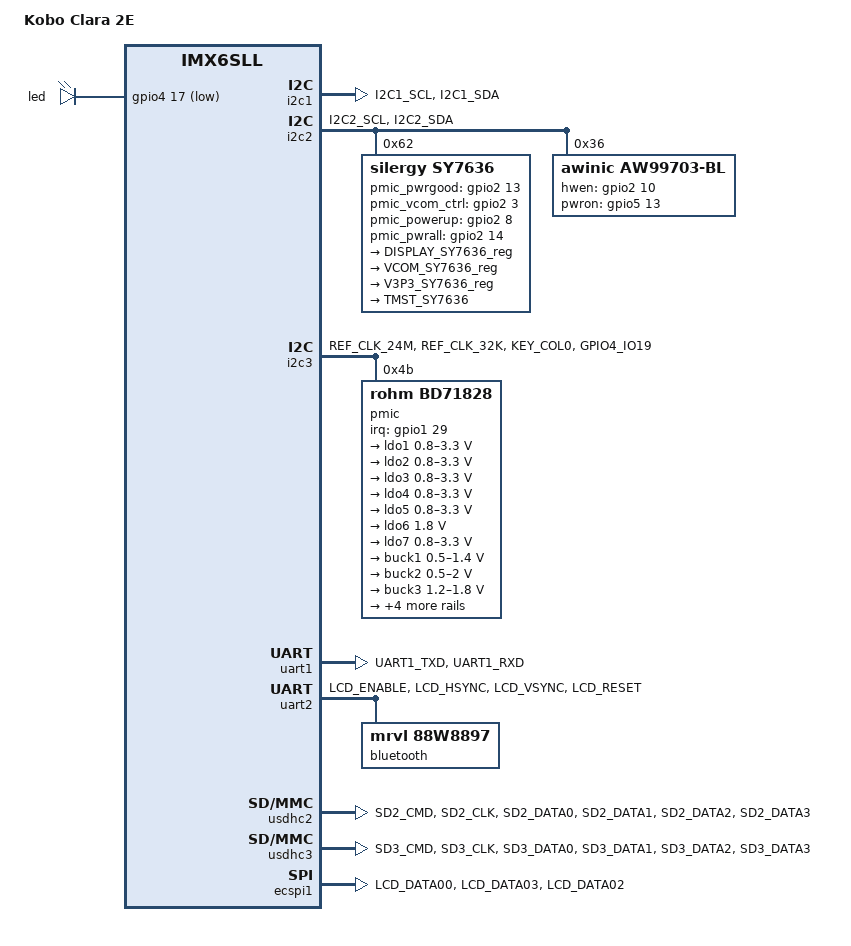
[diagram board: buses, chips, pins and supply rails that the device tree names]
// SPDX-License-Identifier: (GPL-2.0)
/*
 * Device tree for the Kobo Clara 2E ebook reader
 *
 * Name on mainboard is: 37NB-E60K2M+4A2
 * Serials start with: E60K2M (a number also seen in
 * vendor kernel sources)
 *
 * This mainboard seems to be equipped with different SoCs.
 * In the Kobo Clara 2E ebook reader it is an i.MX6SLL
 *
 * Copyright 2019 Brian McKenna
 * based on works
 * Copyright 2019 Andreas Kemnade
 * Copyright 2016 Freescale Semiconductor, Inc.
 */

/dts-v1/;

#include <dt-bindings/input/input.h>
#include <dt-bindings/gpio/gpio.h>
#include "imx6sll.dtsi"
#include "e60k02.dtsi"

/ {
	model = "Kobo Clara 2E";
	compatible = "kobo,clara2e", "fsl,imx6sll";
};

&clks {
	assigned-clocks = <&clks IMX6SLL_CLK_PLL4_AUDIO_DIV>;
	assigned-clock-rates = <393216000>;
};

&cpu0 {
	arm-supply = <&dcdc3_reg>;
	soc-supply = <&dcdc1_reg>;
};

&epdc {
	pinctrl-names = "default";
	pinctrl-0 = <&pinctrl_epdc0>;

	DISPLAY-supply = <&DISPLAY_SY7636_reg>;
	VCOM-supply = <&VCOM_SY7636_reg>;      
	V3P3-supply = <&V3P3_SY7636_reg>;   
};

&epd_thermal {
	thermal-sensors = <&sy7636>;
};

&gpio_keys {
	pinctrl-names = "default";
	pinctrl-0 = <&pinctrl_gpio_keys>;
};

&i2c1 {
	pinctrl-names = "default","sleep";
	pinctrl-0 = <&pinctrl_i2c1>;
	pinctrl-1 = <&pinctrl_i2c1_sleep>;
};

&i2c2 {
	pinctrl-names = "default","sleep";
	pinctrl-0 = <&pinctrl_i2c2>;
	pinctrl-1 = <&pinctrl_i2c2_sleep>;

	sy7636: sy7636@62 {
		compatible = "silergy,sy7636";
		reg = <0x62>;

		on_delay1 = <2>;
		on_delay2 = <2>;
		on_delay3 = <2>;
		on_delay4 = <2>;

		VLDO = <3>;
		VPDD = <2>;
		vddh_ext = <0>;
		vpdd_len = <5>;
		vp_ext = <1>;
		vee_ext = <1>;

		gpio_pmic_pwrgood = <&gpio2 13 GPIO_ACTIVE_HIGH>;
		gpio_pmic_vcom_ctrl = <&gpio2 3 GPIO_ACTIVE_HIGH>;
		gpio_pmic_powerup = <&gpio2 8 GPIO_ACTIVE_HIGH>;
		gpio_pmic_pwrall = <&gpio2 14 GPIO_ACTIVE_HIGH>;

		#thermal-sensor-cells = <0>;

		regulators {
			DISPLAY_SY7636_reg: DISPLAY_SY7636 {
				regulator-name = "DISPLAY_SY7636";
			};

			VCOM_SY7636_reg: VCOM_SY7636 {
				regulator-name = "VCOM_SY7636";
				/* 2's-compliment, -4325000 */
				// regulator-min-microvolt = <0xffbe0178>;
				/* 2's-compliment, -500000 */
				// regulator-max-microvolt = <0xfff85ee0>;
			};

			V3P3_SY7636_reg: V3P3_SY7636 {
				regulator-name = "V3P3_SY7636";
			};

			TMST_SY7636 {
				regulator-name = "TMST_SY7636";
			};
		};
	};

	aw99703-bl@36 {
			reg = <0x36>;
			aw99703,bl-channel = <1>;
			aw99703,bl-fscal-led = <0>;
			aw99703,bl-map = <3>;
			aw99703,hwen-gpio = <&gpio2 10 0>;
			aw99703,i2c-trans-dim = <7>;
			aw99703,label = "FL2";
			aw99703,pwm-mode = <0>;
			aw99703,pwm-trans-dim = <0>;
			aw99703,pwron = <&gpio5 13 0>;
			aw99703,turn-off-ramp = <0>;
			aw99703,turn-on-ramp = <0>;
			aw99703,using-lsb;
			compatible = "awinic,aw99703-bl";
	};
};

&i2c3 {
	pinctrl-names = "default";
	pinctrl-0 = <&pinctrl_i2c3 &pinctrl_bd71828>;

	pmic@4b {
		compatible = "rohm,bd71828";
		reg = <0x4b>;

		interrupt-parent = <&gpio1>;
		interrupts = <29 IRQ_TYPE_LEVEL_LOW>;

		clocks = <&clks 0>;
		#clock-cells = <0>;
		clock-output-names = "bd71828-32k-out";

		gpio-controller;
		#gpio-cells = <2>;
		gpio-reserved-ranges = <0 1>, <2 1>;

		#rohm,dvs-vsel-gpios = <
			&gpio1 12 0
			&gpio1 13 0
		>;
		rohm,charger-sense-resistor-ohms = <10000000>;

		regulators {
			LDO1 {
				name = "LDO1";
				regulator-name = "ldo1";
				regulator-always-on;
				regulator-min-microvolt = <800000>;
				regulator-max-microvolt = <3300000>;
				regulator-boot-on;
			};

			LDO2 {
				name = "LDO2";
				regulator-name = "ldo2";
				regulator-boot-off;
				regulator-always-on;
				regulator-min-microvolt = <800000>;
				regulator-max-microvolt = <3300000>;
			};

			LDO3 {
				name = "LDO3";
				regulator-name = "ldo3";
				regulator-always-on;
				regulator-min-microvolt = <800000>;
				regulator-max-microvolt = <3300000>;
				regulator-boot-on;
			};

			LDO4 {
				name = "LDO4";
				regulator-name = "ldo4";
				regulator-boot-off;
				regulator-always-on;
				regulator-min-microvolt = <800000>;
				regulator-max-microvolt = <3300000>;
			};

			LDO5 {
				name = "LDO5";
				regulator-name = "ldo5";
				regulator-boot-off;
				regulator-always-on;
				regulator-min-microvolt = <800000>;
				regulator-max-microvolt = <3300000>;
			};

			LDO6 {
				name = "LDO6";
				regulator-name = "ldo6";
				regulator-boot-off;
				regulator-always-on;
				regulator-min-microvolt = <1800000>;
				regulator-max-microvolt = <1800000>;
			};

			LDO7 {
				name = "LDO7";
				regulator-name = "ldo7";
				regulator-always-on;
				regulator-min-microvolt = <800000>;
				regulator-max-microvolt = <3300000>;
				regulator-boot-on;
			};

			BUCK1 {
				name = "BUCK1";
				regulator-name = "buck1";
				regulator-always-on;
				regulator-min-microvolt = <500000>;
				regulator-max-microvolt = <1400000>;
				phandle = <0x03>;
				regulator-boot-on;
				linux,phandle = <0x03>;
			};

			BUCK2 {
				name = "BUCK2";
				regulator-name = "buck2";
				regulator-always-on;
				regulator-min-microvolt = <500000>;
				regulator-max-microvolt = <2000000>;
				phandle = <0x04>;
				regulator-boot-on;
				linux,phandle = <0x04>;
			};

			BUCK3 {
				name = "BUCK3";
				regulator-name = "buck3";
				regulator-always-on;
				regulator-min-microvolt = <1200000>;
				regulator-max-microvolt = <1800000>;
				regulator-boot-on;
			};

			BUCK4 {
				name = "BUCK4";
				regulator-name = "buck4";
				regulator-always-on;
				regulator-min-microvolt = <0xf4240>;
				regulator-max-microvolt = <1200000>;
				regulator-boot-on;
			};

			BUCK5 {
				name = "BUCK5";
				regulator-name = "buck5";
				regulator-always-on;
				regulator-min-microvolt = <2500000>;
				regulator-max-microvolt = <3300000>;
				regulator-boot-on;
			};

			BUCK6 {
				name = "BUCK6";
				regulator-name = "buck6";
				regulator-boot-off;
				regulator-always-on;
				regulator-min-microvolt = <500000>;
				regulator-max-microvolt = <2000000>;
			};

			BUCK7 {
				name = "BUCK7";
				regulator-name = "buck7";
				regulator-boot-off;
				regulator-always-on;
				regulator-min-microvolt = <500000>;
				regulator-max-microvolt = <2000000>;
			};
		};

		leds {
			compatible = "rohm,bd71828-leds";

			led-1 {
				rohm,led-compatible = "bd71828-grnled";
				function = "indicator";
				color = <2>;
			};

			led-2 {
				rohm,led-compatible = "bd71828-ambled";
				function = "charging";
				color = <4>;
			};
		};
	};
};

&iomuxc {
	pinctrl-names = "default";
	pinctrl-0 = <&pinctrl_hog>;

	pinctrl_cyttsp5_gpio: cyttsp5-gpiogrp {
		fsl,pins = <
			MX6SLL_PAD_SD1_DATA3__GPIO5_IO06                0x17059 /* TP_INT */
			MX6SLL_PAD_SD1_DATA2__GPIO5_IO13                0x10059 /* TP_RST */
		>;
	};

	pinctrl_cyttsp5_gpio_sleep: cyttsp5-gpiogrp-sleep {
		fsl,pins = <
			MX6SLL_PAD_SD1_DATA3__GPIO5_IO06                0x10059 /* TP_INT */
			MX6SLL_PAD_SD1_DATA2__GPIO5_IO13                0x10059 /* TP_RST */
		>;
	};

	pinctrl_epdc0: epdcgrp0 {
		fsl,pins = <
			MX6SLL_PAD_EPDC_DATA00__EPDC_DATA00     0x100b1
			MX6SLL_PAD_EPDC_DATA01__EPDC_DATA01     0x100b1
			MX6SLL_PAD_EPDC_DATA02__EPDC_DATA02     0x100b1
			MX6SLL_PAD_EPDC_DATA03__EPDC_DATA03     0x100b1
			MX6SLL_PAD_EPDC_DATA04__EPDC_DATA04     0x100b1
			MX6SLL_PAD_EPDC_DATA05__EPDC_DATA05     0x100b1
			MX6SLL_PAD_EPDC_DATA06__EPDC_DATA06     0x100b1
			MX6SLL_PAD_EPDC_DATA07__EPDC_DATA07     0x100b1
			MX6SLL_PAD_EPDC_DATA08__EPDC_DATA08     0x100b1
			MX6SLL_PAD_EPDC_DATA09__EPDC_DATA09     0x100b1
			MX6SLL_PAD_EPDC_DATA10__EPDC_DATA10     0x100b1
			MX6SLL_PAD_EPDC_DATA11__EPDC_DATA11     0x100b1
			MX6SLL_PAD_EPDC_DATA12__EPDC_DATA12     0x100b1
			MX6SLL_PAD_EPDC_DATA13__EPDC_DATA13     0x100b1
			MX6SLL_PAD_EPDC_DATA14__EPDC_DATA14     0x100b1
			MX6SLL_PAD_EPDC_DATA15__EPDC_DATA15     0x100b1
			MX6SLL_PAD_EPDC_SDCLK__EPDC_SDCLK_P     0x100b1
			MX6SLL_PAD_EPDC_SDLE__EPDC_SDLE	 0x100b1
			MX6SLL_PAD_EPDC_SDOE__EPDC_SDOE	 0x100b1
			MX6SLL_PAD_EPDC_SDSHR__EPDC_SDSHR       0x100b1
			MX6SLL_PAD_EPDC_SDCE0__EPDC_SDCE0       0x100b1
			MX6SLL_PAD_EPDC_GDCLK__EPDC_GDCLK       0x100b1
			MX6SLL_PAD_EPDC_GDOE__EPDC_GDOE	 0x100b1
			MX6SLL_PAD_EPDC_GDRL__EPDC_GDRL	 0x100b1
			MX6SLL_PAD_EPDC_GDSP__EPDC_GDSP	 0x100b1
	       >;
	};

	pinctrl_gpio_keys: gpio-keysgrp {
		fsl,pins = <
			MX6SLL_PAD_GPIO4_IO25__GPIO4_IO25	0x17059	/* PWR_SW */
			MX6SLL_PAD_GPIO4_IO23__GPIO4_IO23	0x17059	/* HALL_EN */
		>;
	};

	pinctrl_hog: hoggrp {
		fsl,pins = <
			MX6SLL_PAD_LCD_DATA01__GPIO2_IO21	0x79
			MX6SLL_PAD_LCD_DATA04__GPIO2_IO24	0x79
			MX6SLL_PAD_LCD_DATA05__GPIO2_IO25	0x79
			MX6SLL_PAD_LCD_DATA06__GPIO2_IO26	0x79
			MX6SLL_PAD_LCD_DATA07__GPIO2_IO27	0x79
			MX6SLL_PAD_LCD_DATA08__GPIO2_IO28	0x79
			MX6SLL_PAD_LCD_DATA09__GPIO2_IO29	0x79
			MX6SLL_PAD_LCD_DATA10__GPIO2_IO30	0x79
			MX6SLL_PAD_LCD_DATA11__GPIO2_IO31	0x79
			MX6SLL_PAD_LCD_DATA12__GPIO3_IO00	0x79
			MX6SLL_PAD_LCD_DATA13__GPIO3_IO01	0x79
			MX6SLL_PAD_LCD_DATA14__GPIO3_IO02	0x79
			MX6SLL_PAD_LCD_DATA15__GPIO3_IO03	0x79
			MX6SLL_PAD_LCD_DATA16__GPIO3_IO04	0x79
			MX6SLL_PAD_LCD_DATA17__GPIO3_IO05	0x79
			MX6SLL_PAD_LCD_DATA18__GPIO3_IO06	0x79
			MX6SLL_PAD_LCD_DATA19__GPIO3_IO07	0x79
			MX6SLL_PAD_LCD_DATA20__GPIO3_IO08	0x79
			MX6SLL_PAD_LCD_DATA21__GPIO3_IO09	0x79
			MX6SLL_PAD_LCD_DATA22__GPIO3_IO10	0x79
			MX6SLL_PAD_LCD_DATA23__GPIO3_IO11	0x79
			MX6SLL_PAD_LCD_CLK__GPIO2_IO15		0x79
			MX6SLL_PAD_GPIO4_IO21__GPIO4_IO21   0x79
			MX6SLL_PAD_GPIO4_IO26__GPIO4_IO26   0x79
			MX6SLL_PAD_KEY_COL3__GPIO3_IO30     0x79
			MX6SLL_PAD_KEY_ROW7__GPIO4_IO07     0x79
			MX6SLL_PAD_ECSPI2_MOSI__GPIO4_IO13  0x79
		>;
	};

	pinctrl_i2c1: i2c1grp {
		fsl,pins = <
			MX6SLL_PAD_I2C1_SCL__I2C1_SCL	0x4001f8b1
			MX6SLL_PAD_I2C1_SDA__I2C1_SDA	0x4001f8b1
		>;
	};

	pinctrl_i2c1_sleep: i2c1grp-sleep {
		fsl,pins = <
			MX6SLL_PAD_I2C1_SCL__I2C1_SCL	0x400108b1
			MX6SLL_PAD_I2C1_SDA__I2C1_SDA	0x400108b1
		>;
	};

	pinctrl_i2c2: i2c2grp {
		fsl,pins = <
			MX6SLL_PAD_I2C2_SCL__I2C2_SCL	0x4001f8b1
			MX6SLL_PAD_I2C2_SDA__I2C2_SDA	0x4001f8b1
		>;
	};

	pinctrl_i2c2_sleep: i2c2grp-sleep {
		fsl,pins = <
			MX6SLL_PAD_I2C2_SCL__I2C2_SCL	0x400108b1
			MX6SLL_PAD_I2C2_SDA__I2C2_SDA	0x400108b1
		>;
	};

	pinctrl_i2c3: i2c3grp {
		fsl,pins = <
			MX6SLL_PAD_REF_CLK_24M__I2C3_SCL 0x4001f8b1
			MX6SLL_PAD_REF_CLK_32K__I2C3_SDA 0x4001f8b1
		>;
	};

	pinctrl_led: ledgrp {
		fsl,pins = <
			MX6SLL_PAD_SD1_DATA6__GPIO5_IO07 0x17059
		>;
	};

	pinctrl_lm3630a_bl_gpio: lm3630a-bl-gpiogrp {
		fsl,pins = <
			MX6SLL_PAD_EPDC_PWR_CTRL3__GPIO2_IO10	0x10059 /* HWEN */
		>;
	};

	pinctrl_uart1: uart1grp {
		fsl,pins = <
			MX6SLL_PAD_UART1_TXD__UART1_DCE_TX 0x1b0b1
			MX6SLL_PAD_UART1_RXD__UART1_DCE_RX 0x1b0b1
		>;
	};

	pinctrl_uart2: uart2grp {
		fsl,pins = <
			MX6SLL_PAD_LCD_ENABLE__UART2_DCE_RX	0x41b0b1
			MX6SLL_PAD_LCD_HSYNC__UART2_DCE_TX	0x41b0b1
			MX6SLL_PAD_LCD_VSYNC__UART2_DCE_RTS	0x41b0b1
			MX6SLL_PAD_LCD_RESET__UART2_DCE_CTS	0x41b0b1
		>;
	};

	pinctrl_usbotg1: usbotg1grp {
		fsl,pins = <
			MX6SLL_PAD_EPDC_PWR_COM__USB_OTG1_ID 0x17059
		>;
	};

	pinctrl_usdhc2: usdhc2grp {
		fsl,pins = <
			MX6SLL_PAD_SD2_CMD__SD2_CMD		0x17059
			MX6SLL_PAD_SD2_CLK__SD2_CLK		0x13059
			MX6SLL_PAD_SD2_DATA0__SD2_DATA0		0x17059
			MX6SLL_PAD_SD2_DATA1__SD2_DATA1		0x17059
			MX6SLL_PAD_SD2_DATA2__SD2_DATA2		0x17059
			MX6SLL_PAD_SD2_DATA3__SD2_DATA3		0x17059
		>;
	};

	pinctrl_usdhc2_100mhz: usdhc2grp-100mhz {
		fsl,pins = <
			MX6SLL_PAD_SD2_CMD__SD2_CMD		0x170b9
			MX6SLL_PAD_SD2_CLK__SD2_CLK		0x130b9
			MX6SLL_PAD_SD2_DATA0__SD2_DATA0		0x170b9
			MX6SLL_PAD_SD2_DATA1__SD2_DATA1		0x170b9
			MX6SLL_PAD_SD2_DATA2__SD2_DATA2		0x170b9
			MX6SLL_PAD_SD2_DATA3__SD2_DATA3		0x170b9
		>;
	};

	pinctrl_usdhc2_200mhz: usdhc2grp-200mhz {
		fsl,pins = <
			MX6SLL_PAD_SD2_CMD__SD2_CMD		0x170f9
			MX6SLL_PAD_SD2_CLK__SD2_CLK		0x130f9
			MX6SLL_PAD_SD2_DATA0__SD2_DATA0		0x170f9
			MX6SLL_PAD_SD2_DATA1__SD2_DATA1		0x170f9
			MX6SLL_PAD_SD2_DATA2__SD2_DATA2		0x170f9
			MX6SLL_PAD_SD2_DATA3__SD2_DATA3		0x170f9
		>;
	};

	pinctrl_usdhc2_sleep: usdhc2grp-sleep {
		fsl,pins = <
			MX6SLL_PAD_SD2_CMD__GPIO5_IO04		0x100f9
			MX6SLL_PAD_SD2_CLK__GPIO5_IO05		0x100f9
			MX6SLL_PAD_SD2_DATA0__GPIO5_IO01	0x100f9
			MX6SLL_PAD_SD2_DATA1__GPIO4_IO30	0x100f9
			MX6SLL_PAD_SD2_DATA2__GPIO5_IO03	0x100f9
			MX6SLL_PAD_SD2_DATA3__GPIO4_IO28	0x100f9
		>;
	};

	pinctrl_usdhc3: usdhc3grp {
		fsl,pins = <
			MX6SLL_PAD_SD3_CMD__SD3_CMD	0x11059
			MX6SLL_PAD_SD3_CLK__SD3_CLK	0x11059
			MX6SLL_PAD_SD3_DATA0__SD3_DATA0	0x11059
			MX6SLL_PAD_SD3_DATA1__SD3_DATA1	0x11059
			MX6SLL_PAD_SD3_DATA2__SD3_DATA2	0x11059
			MX6SLL_PAD_SD3_DATA3__SD3_DATA3	0x11059
		>;
	};

	pinctrl_usdhc3_100mhz: usdhc3grp-100mhz {
		fsl,pins = <
			MX6SLL_PAD_SD3_CMD__SD3_CMD	0x170b9
			MX6SLL_PAD_SD3_CLK__SD3_CLK	0x170b9
			MX6SLL_PAD_SD3_DATA0__SD3_DATA0	0x170b9
			MX6SLL_PAD_SD3_DATA1__SD3_DATA1	0x170b9
			MX6SLL_PAD_SD3_DATA2__SD3_DATA2	0x170b9
			MX6SLL_PAD_SD3_DATA3__SD3_DATA3	0x170b9
		>;
	};

	pinctrl_usdhc3_200mhz: usdhc3grp-200mhz {
		fsl,pins = <
			MX6SLL_PAD_SD3_CMD__SD3_CMD	0x170f9
			MX6SLL_PAD_SD3_CLK__SD3_CLK	0x170f9
			MX6SLL_PAD_SD3_DATA0__SD3_DATA0	0x170f9
			MX6SLL_PAD_SD3_DATA1__SD3_DATA1	0x170f9
			MX6SLL_PAD_SD3_DATA2__SD3_DATA2	0x170f9
			MX6SLL_PAD_SD3_DATA3__SD3_DATA3	0x170f9
		>;
	};

	pinctrl_usdhc3_sleep: usdhc3grp-sleep {
		fsl,pins = <
			MX6SLL_PAD_SD3_CMD__GPIO5_IO21	0x100c1
			MX6SLL_PAD_SD3_CLK__GPIO5_IO18	0x100c1
			MX6SLL_PAD_SD3_DATA0__GPIO5_IO19	0x100c1
			MX6SLL_PAD_SD3_DATA1__GPIO5_IO20	0x100c1
			MX6SLL_PAD_SD3_DATA2__GPIO5_IO16	0x100c1
			MX6SLL_PAD_SD3_DATA3__GPIO5_IO17	0x100c1
		>;
	};

	pinctrl_wifi_power: wifi-powergrp {
		fsl,pins = <
			MX6SLL_PAD_SD2_DATA6__GPIO4_IO29	0x10059		/* WIFI_3V3_ON */
		>;
	};

	pinctrl_wifi_reset: wifi-resetgrp {
		fsl,pins = <
			MX6SLL_PAD_SD2_DATA7__GPIO5_IO00	0x10059		/* WIFI_RST */
		>;
	};

	pinctrl_ecspi1: ecspi1grp {
		fsl,pins = <
			MX6SLL_PAD_LCD_DATA00__ECSPI1_MOSI	0x100b1
			MX6SLL_PAD_LCD_DATA03__ECSPI1_SCLK	0x100b1
			MX6SLL_PAD_LCD_DATA02__ECSPI1_SS0	0x100b1
		>;
	};

	pinctrl_bd71828: bd71828-gpiogrp {
		fsl,pins = <
			MX6SLL_PAD_KEY_COL0__GPIO3_IO24		0x1b8b1
			MX6SLL_PAD_GPIO4_IO19__GPIO4_IO19	0x1b8b1
		>;
	};
};

&leds {
	pinctrl-names = "default";
	pinctrl-0 = <&pinctrl_led>;

	led {
		gpios = <&gpio4 17 GPIO_ACTIVE_LOW>;
	};
};

&lm3630a {
	pinctrl-names = "default";
	pinctrl-0 = <&pinctrl_lm3630a_bl_gpio>;
	compatible = "awinic,aw99703-bl";
	aw99703,bl-channel = <1>;
	aw99703,bl-fscal-led = <0>;
	aw99703,bl-map = <3>;
	aw99703,hwen-gpio = <&gpio2 10 0>;
	aw99703,i2c-trans-dim = <7>;
	aw99703,label = "FL1";
	aw99703,pwm-mode = <0>;
	aw99703,pwm-trans-dim = <0>;
	aw99703,pwron = <&gpio5 13 0>;
	aw99703,turn-off-ramp = <0>;
	aw99703,turn-on-ramp = <0>;
	aw99703,using-lsb;

	/delete-property/ enable-gpios;
	/delete-property/ #address-cells;
	/delete-property/ #size-cells;
	/delete-node/ led@0;
	/delete-node/ led@1;
};

&reg_wifi {
	pinctrl-names = "default";
	pinctrl-0 = <&pinctrl_wifi_power>;
};

&ricoh619 {
	status = "disabled";
};

&tps6518x {
	status = "disabled";
};

&uart1 {
	pinctrl-names = "default";
	pinctrl-0 = <&pinctrl_uart1>;
};

&uart2 {
	pinctrl-names = "default";
	pinctrl-0 = <&pinctrl_uart2>;
	status = "okay";

	bluetooth {
		compatible = "mrvl,88w8897";
	};
};

&uart4 {
	status = "disabled";
};

&usdhc2 {
	pinctrl-names = "default", "state_100mhz", "state_200mhz","sleep";
	pinctrl-0 = <&pinctrl_usdhc2>;
	pinctrl-1 = <&pinctrl_usdhc2_100mhz>;
	pinctrl-2 = <&pinctrl_usdhc2_200mhz>;
	pinctrl-3 = <&pinctrl_usdhc2_sleep>;
};

&usdhc3 {
	pinctrl-names = "default", "state_100mhz", "state_200mhz","sleep";
	pinctrl-0 = <&pinctrl_usdhc3>;
	pinctrl-1 = <&pinctrl_usdhc3_100mhz>;
	pinctrl-2 = <&pinctrl_usdhc3_200mhz>;
	pinctrl-3 = <&pinctrl_usdhc3_sleep>;
};

&wifi_pwrseq {
	pinctrl-names = "default";
	pinctrl-0 = <&pinctrl_wifi_reset>;
};

&ecspi1 {
	status = "okay";
	pinctrl-0 = <&pinctrl_ecspi1>;
};

&cover {
	gpios = <&gpio4 23 GPIO_ACTIVE_LOW>;
};

// UART2 is enabled
